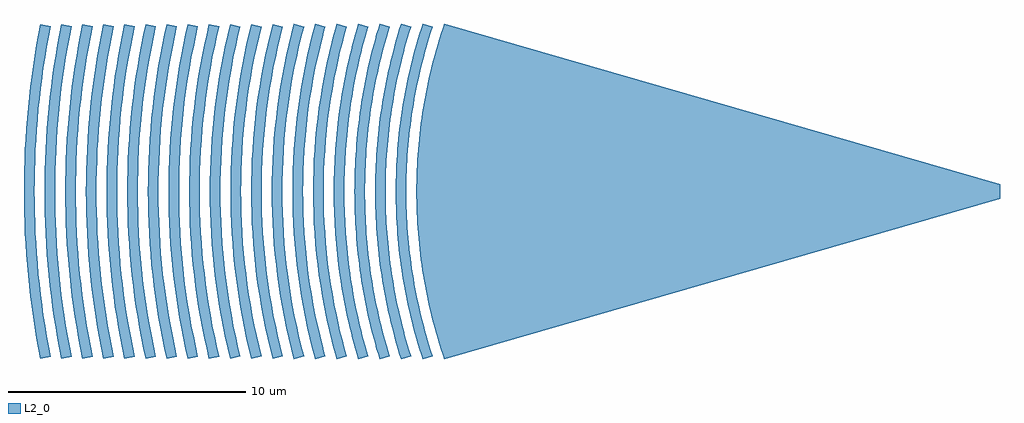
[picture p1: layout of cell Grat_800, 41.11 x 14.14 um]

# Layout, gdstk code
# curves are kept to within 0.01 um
import gdstk
lib = gdstk.Library(unit=1e-6, precision=1e-09)
def P(c, l, *ps):  # polygons
    for p in ps: c.add(gdstk.Polygon(p, *l))
L2_0 = (2, 0)

grat_800 = lib.new_cell('Grat_800')
P(grat_800, L2_0, [(-23.402,-7.071),(-23.684,-6.187),(-23.926,-5.304),(-24.128,-4.42),(-24.292,-3.536),(-24.418,-2.652),(-24.508,-1.768),(-24.562,-0.884),(-24.58,0),(-24.562,0.884),(-24.508,1.768),(-24.418,2.652),(-24.292,3.536),(-24.128,4.42),(-23.926,5.304),(-23.684,6.187),(-23.402,7.071),(0,0.3),(0,-0.3)],
  [(-24.316,-7.068),(-24.587,-6.185),(-24.819,-5.302),(-25.014,-4.418),(-25.172,-3.534),(-25.294,-2.651),(-25.381,-1.767),(-25.433,-0.884),(-25.45,0),(-25.433,0.884),(-25.381,1.767),(-25.294,2.651),(-25.172,3.534),(-25.014,4.418),(-24.819,5.302),(-24.587,6.185),(-24.316,7.068),(-23.897,6.932),(-24.163,6.065),(-24.391,5.198),(-24.582,4.332),(-24.737,3.466),(-24.857,2.599),(-24.942,1.733),(-24.993,0.866),(-25.01,0),(-24.993,-0.866),(-24.942,-1.733),(-24.857,-2.599),(-24.737,-3.466),(-24.582,-4.332),(-24.391,-5.198),(-24.163,-6.065),(-23.897,-6.932)],
  [(-25.226,-7.066),(-25.487,-6.183),(-25.711,-5.3),(-25.899,-4.417),(-26.051,-3.533),(-26.169,-2.65),(-26.253,-1.767),(-26.303,-0.883),(-26.32,0),(-26.303,0.883),(-26.253,1.767),(-26.169,2.65),(-26.051,3.533),(-25.899,4.417),(-25.711,5.3),(-25.487,6.183),(-25.226,7.066),(-24.806,6.934),(-25.062,6.067),(-25.282,5.2),(-25.466,4.333),(-25.616,3.467),(-25.732,2.6),(-25.814,1.733),(-25.863,0.867),(-25.88,0),(-25.863,-0.867),(-25.814,-1.733),(-25.732,-2.6),(-25.616,-3.467),(-25.466,-4.333),(-25.282,-5.2),(-25.062,-6.067),(-24.806,-6.934)],
  [(-26.133,-7.064),(-26.385,-6.181),(-26.601,-5.298),(-26.783,-4.415),(-26.93,-3.532),(-27.044,-2.649),(-27.125,-1.766),(-27.174,-0.883),(-27.19,0),(-27.174,0.883),(-27.125,1.766),(-27.044,2.649),(-26.93,3.532),(-26.783,4.415),(-26.601,5.298),(-26.385,6.181),(-26.133,7.064),(-25.712,6.936),(-25.959,6.069),(-26.172,5.202),(-26.35,4.335),(-26.495,3.468),(-26.607,2.601),(-26.686,1.734),(-26.734,0.867),(-26.75,0),(-26.734,-0.867),(-26.686,-1.734),(-26.607,-2.601),(-26.495,-3.468),(-26.35,-4.335),(-26.172,-5.202),(-25.959,-6.069),(-25.712,-6.936)],
  [(-27.038,-7.062),(-27.281,-6.18),(-27.49,-5.297),(-27.666,-4.414),(-27.808,-3.531),(-27.919,-2.648),(-27.997,-1.766),(-28.044,-0.883),(-28.06,0),(-28.044,0.883),(-27.997,1.766),(-27.919,2.648),(-27.808,3.531),(-27.666,4.414),(-27.49,5.297),(-27.281,6.18),(-27.038,7.062),(-26.615,6.938),(-26.855,6.07),(-27.06,5.203),(-27.232,4.336),(-27.373,3.469),(-27.481,2.602),(-27.558,1.734),(-27.605,0.867),(-27.62,0),(-27.605,-0.867),(-27.558,-1.734),(-27.481,-2.602),(-27.373,-3.469),(-27.232,-4.336),(-27.06,-5.203),(-26.855,-6.07),(-26.615,-6.938)],
  [(-27.94,-7.06),(-28.176,-6.178),(-28.378,-5.295),(-28.548,-4.413),(-28.686,-3.53),(-28.793,-2.648),(-28.869,-1.765),(-28.915,-0.883),(-28.93,0),(-28.915,0.883),(-28.869,1.765),(-28.793,2.648),(-28.686,3.53),(-28.548,4.413),(-28.378,5.295),(-28.176,6.178),(-27.94,7.06),(-27.517,6.94),(-27.748,6.072),(-27.947,5.205),(-28.114,4.337),(-28.25,3.47),(-28.355,2.602),(-28.43,1.735),(-28.475,0.867),(-28.49,0),(-28.475,-0.867),(-28.43,-1.735),(-28.355,-2.602),(-28.25,-3.47),(-28.114,-4.337),(-27.947,-5.205),(-27.748,-6.072),(-27.517,-6.94)],
  [(-28.841,-7.058),(-29.069,-6.176),(-29.265,-5.294),(-29.429,-4.412),(-29.563,-3.529),(-29.667,-2.647),(-29.741,-1.765),(-29.785,-0.882),(-29.8,0),(-29.785,0.882),(-29.741,1.765),(-29.667,2.647),(-29.563,3.529),(-29.429,4.412),(-29.265,5.294),(-29.069,6.176),(-28.841,7.058),(-28.416,6.942),(-28.641,6.074),(-28.833,5.206),(-28.995,4.338),(-29.127,3.471),(-29.229,2.603),(-29.302,1.735),(-29.345,0.868),(-29.36,0),(-29.345,-0.868),(-29.302,-1.735),(-29.229,-2.603),(-29.127,-3.471),(-28.995,-4.338),(-28.833,-5.206),(-28.641,-6.074),(-28.416,-6.942)],
  [(-29.739,-7.056),(-29.96,-6.175),(-30.15,-5.293),(-30.31,-4.411),(-30.44,-3.529),(-30.541,-2.646),(-30.613,-1.764),(-30.656,-0.882),(-30.67,0),(-30.656,0.882),(-30.613,1.764),(-30.541,2.646),(-30.44,3.529),(-30.31,4.411),(-30.15,5.293),(-29.96,6.175),(-29.739,7.056),(-29.314,6.944),(-29.531,6.075),(-29.719,5.207),(-29.876,4.339),(-30.004,3.471),(-30.103,2.604),(-30.174,1.736),(-30.216,0.868),(-30.23,0),(-30.216,-0.868),(-30.174,-1.736),(-30.103,-2.604),(-30.004,-3.471),(-29.876,-4.339),(-29.719,-5.207),(-29.531,-6.075),(-29.314,-6.944)],
  [(-30.636,-7.055),(-30.851,-6.174),(-31.035,-5.292),(-31.19,-4.41),(-31.317,-3.528),(-31.415,-2.646),(-31.484,-1.764),(-31.526,-0.882),(-31.54,0),(-31.526,0.882),(-31.484,1.764),(-31.415,2.646),(-31.317,3.528),(-31.19,4.41),(-31.035,5.292),(-30.851,6.174),(-30.636,7.055),(-30.21,6.945),(-30.421,6.076),(-30.603,5.208),(-30.756,4.34),(-30.88,3.472),(-30.976,2.604),(-31.045,1.736),(-31.086,0.868),(-31.1,0),(-31.086,-0.868),(-31.045,-1.736),(-30.976,-2.604),(-30.88,-3.472),(-30.756,-4.34),(-30.603,-5.208),(-30.421,-6.076),(-30.21,-6.945)],
  [(-31.532,-7.053),(-31.74,-6.172),(-31.919,-5.291),(-32.07,-4.409),(-32.193,-3.527),(-32.288,-2.645),(-32.356,-1.764),(-32.397,-0.882),(-32.41,0),(-32.397,0.882),(-32.356,1.764),(-32.288,2.645),(-32.193,3.527),(-32.07,4.409),(-31.919,5.291),(-31.74,6.172),(-31.532,7.053),(-31.104,6.947),(-31.31,6.078),(-31.486,5.209),(-31.635,4.341),(-31.756,3.473),(-31.85,2.605),(-31.917,1.736),(-31.957,0.868),(-31.97,0),(-31.957,-0.868),(-31.917,-1.736),(-31.85,-2.605),(-31.756,-3.473),(-31.635,-4.341),(-31.486,-5.209),(-31.31,-6.078),(-31.104,-6.947)],
  [(-32.426,-7.052),(-32.628,-6.171),(-32.802,-5.289),(-32.949,-4.408),(-33.069,-3.526),(-33.161,-2.645),(-33.227,-1.763),(-33.267,-0.882),(-33.28,0),(-33.267,0.882),(-33.227,1.763),(-33.161,2.645),(-33.069,3.526),(-32.949,4.408),(-32.802,5.289),(-32.628,6.171),(-32.426,7.052),(-31.998,6.948),(-32.287,5.645),(-32.445,4.776),(-32.576,3.908),(-32.681,3.039),(-32.759,2.171),(-32.827,0.868),(-32.837,-0.434),(-32.811,-1.303),(-32.759,-2.171),(-32.681,-3.039),(-32.514,-4.342),(-32.369,-5.211),(-32.197,-6.079),(-31.998,-6.948)],
  [(-33.318,-7.05),(-33.515,-6.17),(-33.685,-5.288),(-33.828,-4.407),(-33.944,-3.526),(-34.034,-2.644),(-34.099,-1.763),(-34.137,-0.881),(-34.15,0),(-34.137,0.881),(-34.099,1.763),(-34.034,2.644),(-33.944,3.526),(-33.828,4.407),(-33.685,5.288),(-33.515,6.17),(-33.318,7.05),(-32.89,6.95),(-33.171,5.646),(-33.325,4.777),(-33.453,3.909),(-33.555,3.04),(-33.631,2.171),(-33.697,0.869),(-33.71,0),(-33.697,-0.869),(-33.631,-2.171),(-33.555,-3.04),(-33.453,-3.909),(-33.325,-4.777),(-33.171,-5.646),(-32.89,-6.95)],
  [(-34.21,-7.049),(-34.401,-6.169),(-34.567,-5.287),(-34.706,-4.406),(-34.819,-3.525),(-34.907,-2.644),(-34.97,-1.762),(-35.008,-0.881),(-35.02,0),(-35.008,0.881),(-34.97,1.762),(-34.907,2.644),(-34.819,3.525),(-34.706,4.406),(-34.567,5.287),(-34.401,6.169),(-34.21,7.049),(-33.781,6.951),(-34.055,5.647),(-34.205,4.778),(-34.329,3.909),(-34.469,2.606),(-34.531,1.738),(-34.568,0.869),(-34.58,0),(-34.568,-0.869),(-34.531,-1.738),(-34.429,-3.041),(-34.27,-4.344),(-34.133,-5.213),(-33.97,-6.081),(-33.781,-6.951)],
  [(-35.1,-7.048),(-35.287,-6.168),(-35.448,-5.287),(-35.584,-4.405),(-35.694,-3.524),(-35.78,-2.643),(-35.841,-1.762),(-35.878,-0.881),(-35.89,0),(-35.878,0.881),(-35.841,1.762),(-35.78,2.643),(-35.694,3.524),(-35.584,4.405),(-35.448,5.287),(-35.287,6.168),(-35.1,7.048),(-34.671,6.952),(-34.938,5.648),(-35.084,4.779),(-35.205,3.91),(-35.302,3.041),(-35.375,2.172),(-35.438,0.869),(-35.45,0),(-35.423,-1.303),(-35.375,-2.172),(-35.302,-3.041),(-35.148,-4.345),(-35.014,-5.213),(-34.855,-6.082),(-34.671,-6.952)],
  [(-35.99,-7.047),(-36.172,-6.167),(-36.329,-5.286),(-36.461,-4.405),(-36.569,-3.524),(-36.653,-2.643),(-36.712,-1.762),(-36.748,-0.881),(-36.76,0),(-36.748,0.881),(-36.712,1.762),(-36.653,2.643),(-36.569,3.524),(-36.461,4.405),(-36.329,5.286),(-36.172,6.167),(-35.99,7.047),(-35.559,6.953),(-35.82,5.649),(-35.963,4.78),(-36.081,3.911),(-36.214,2.607),(-36.273,1.738),(-36.308,0.869),(-36.32,0),(-36.308,-0.869),(-36.273,-1.738),(-36.176,-3.042),(-36.081,-3.911),(-35.963,-4.78),(-35.82,-5.649),(-35.559,-6.953)],
  [(-36.878,-7.046),(-37.056,-6.166),(-37.209,-5.285),(-37.338,-4.404),(-37.444,-3.523),(-37.525,-2.642),(-37.584,-1.762),(-37.618,-0.881),(-37.63,0),(-37.618,0.881),(-37.584,1.762),(-37.525,2.642),(-37.444,3.523),(-37.338,4.404),(-37.209,5.285),(-37.056,6.166),(-36.878,7.046),(-36.447,6.954),(-36.702,5.65),(-36.841,4.781),(-36.957,3.911),(-37.049,3.042),(-37.118,2.173),(-37.178,0.869),(-37.19,0),(-37.164,-1.304),(-37.118,-2.173),(-37.049,-3.042),(-36.957,-3.911),(-36.841,-4.781),(-36.702,-5.65),(-36.447,-6.954)],
  [(-37.766,-7.045),(-37.939,-6.165),(-38.089,-5.284),(-38.215,-4.403),(-38.318,-3.523),(-38.398,-2.642),(-38.455,-1.761),(-38.489,-0.881),(-38.5,0),(-38.489,0.881),(-38.455,1.761),(-38.398,2.642),(-38.318,3.523),(-38.215,4.403),(-38.089,5.284),(-37.939,6.165),(-37.766,7.045),(-37.335,6.955),(-37.583,5.651),(-37.719,4.781),(-37.832,3.912),(-37.959,2.608),(-38.015,1.739),(-38.049,0.869),(-38.06,0),(-38.035,-1.304),(-37.99,-2.173),(-37.922,-3.043),(-37.832,-3.912),(-37.654,-5.216),(-37.506,-6.085),(-37.335,-6.955)],
  [(-38.652,-7.044),(-38.822,-6.164),(-38.968,-5.283),(-39.091,-4.403),(-39.192,-3.522),(-39.27,-2.642),(-39.326,-1.761),(-39.359,-0.881),(-39.37,0),(-39.359,0.881),(-39.326,1.761),(-39.27,2.642),(-39.192,3.522),(-39.091,4.403),(-38.968,5.283),(-38.822,6.164),(-38.652,7.044),(-38.221,6.956),(-38.464,5.651),(-38.597,4.782),(-38.707,3.913),(-38.831,2.608),(-38.886,1.739),(-38.919,0.869),(-38.93,0),(-38.919,-0.869),(-38.886,-1.739),(-38.795,-3.043),(-38.707,-3.913),(-38.597,-4.782),(-38.464,-5.651),(-38.221,-6.956)],
  [(-39.538,-7.043),(-39.704,-6.163),(-39.847,-5.283),(-39.968,-4.402),(-40.066,-3.522),(-40.142,-2.641),(-40.197,-1.761),(-40.229,-0.88),(-40.24,0),(-40.229,0.88),(-40.197,1.761),(-40.142,2.641),(-40.066,3.522),(-39.968,4.402),(-39.847,5.283),(-39.704,6.163),(-39.538,7.043),(-39.107,6.957),(-39.344,5.652),(-39.531,4.348),(-39.628,3.478),(-39.703,2.609),(-39.776,1.304),(-39.8,0),(-39.789,-0.87),(-39.733,-2.174),(-39.668,-3.043),(-39.531,-4.348),(-39.412,-5.217),(-39.27,-6.087),(-39.107,-6.957)],
  [(-40.424,-7.042),(-40.586,-6.162),(-40.725,-5.282),(-40.843,-4.402),(-40.94,-3.521),(-41.068,-1.761),(-41.11,0),(-41.068,1.761),(-40.94,3.521),(-40.843,4.402),(-40.725,5.282),(-40.586,6.162),(-40.424,7.042),(-39.991,6.958),(-40.224,5.653),(-40.351,4.783),(-40.457,3.914),(-40.575,2.609),(-40.646,1.305),(-40.67,0),(-40.659,-0.87),(-40.628,-1.739),(-40.541,-3.044),(-40.457,-3.914),(-40.29,-5.218),(-40.152,-6.088),(-39.991,-6.958)])

lib.write_gds('Grat_800.gds')
